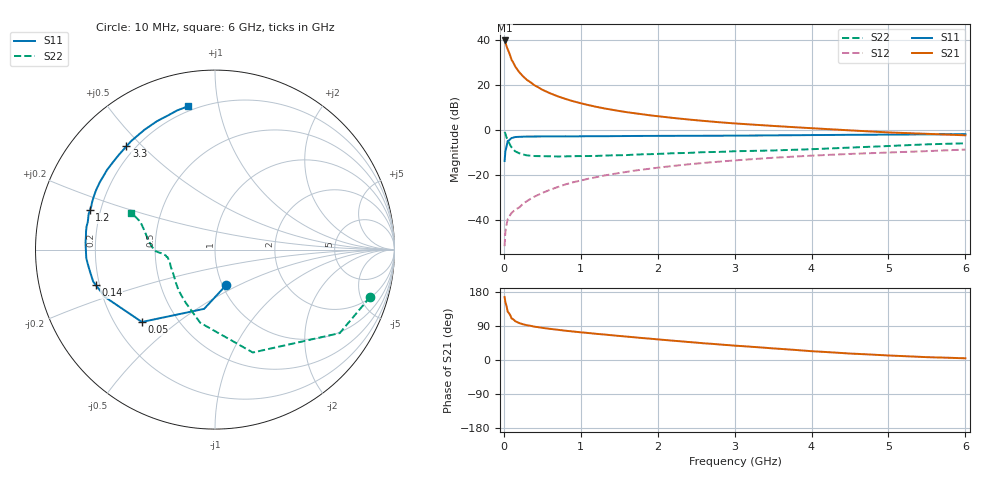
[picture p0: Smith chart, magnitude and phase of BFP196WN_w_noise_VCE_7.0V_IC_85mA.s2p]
! Infineon Technologies  Discrete & RF Semiconductors
! BFP196WN
! VCE =  7.0 V,  IC =  85 mA
! Common Emitter S-Parameters:  Jan 2017
# GHz  S  MA  R  50
!  f  S11  S21  S12  S22
! GHz  MAG  ANG  MAG  ANG  MAG  ANG  MAG  ANG
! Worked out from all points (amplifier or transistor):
!   77 points, 10 MHz to 6 GHz, reference 50 ohm
!   highest |S21| = 39.6 dB at 10 MHz (marker M1)
!   |S21| within 3 dB of that: start of sweep to 39.96 MHz
!   unconditionally stable (mu >= 1): 522.3 MHz to 2.572 GHz
!   at 130 MHz: K = 0.64, MSG = 32.6 dB, |S12| = -35.8 dB
!   at 2.2 GHz: K = 1.01, MAG = 9.9 dB, |S12| = -15.9 dB
!   at 6 GHz: K = 0.91, MSG = 3.2 dB, |S12| = -8.6 dB
!   lowest NFmin = 1.64 dB at 450 MHz
!   S11 on the Smith chart (normalised r, x): 10 MHz: 1.05, -0.43; 50 MHz: 0.31, -0.38; 140 MHz: 0.18, -0.14; 1.2 GHz: 0.16, +0.15; 3.3 GHz: 0.17, +0.45; 6 GHz: 0.17, +0.82
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0.01  0.2065 -72.0  95.94 166.2  0.0027 75.7  0.9037 -17.0
0.02  0.3356 -100.4  86.36 152.8  0.0056 67.7  0.8362 -33.8
0.05  0.5734 -135.3  61.11 127.5  0.0106 53.3  0.6109 -69.8
0.1  0.6671 -156.6  35.99 110.0  0.0146 51.1  0.4158 -101.4
0.14  0.6935 -163.6  27.25 104.3  0.0168 53.2  0.3494 -115.1
0.15  0.7017 -165.3  25.13 102.2  0.0174 53.6  0.3367 -119.3
0.2  0.7078 -170.4  19.09 97.5  0.0194 59.0  0.3062 -131.1
0.25  0.7139 -173.8  15.4 94.2  0.0236 61.1  0.2881 -138.6
0.3  0.7187 -176.3  12.89 91.8  0.0268 64.0  0.2755 -144.9
0.4  0.7197 179.8  9.745 87.8  0.0338 67.1  0.2662 -152.4
0.5  0.7225 176.8  7.803 84.8  0.0405 69.1  0.2645 -157.7
0.7  0.7254 172.1  5.583 79.8  0.0548 71.0  0.2607 -164.2
0.9  0.7252 167.9  4.343 75.2  0.07 71.2  0.2645 -167.4
1.1  0.7314 164.3  3.565 71.2  0.084 70.5  0.2664 -170.3
1.2  0.7309 162.5  3.272 69.1  0.0906 70.0  0.2678 -171.1
1.6  0.7374 156.1  2.484 61.7  0.1191 68.0  0.2798 -173.7
2.1  0.7437 148.2  1.938 52.7  0.1538 64.3  0.3018 -176.3
3.1  0.754 133.4  1.367 36.6  0.219 56.0  0.3425 179.5
3.3  0.7581 130.6  1.299 33.7  0.2313 54.3  0.348 178.2
4.1  0.7761 119.2  1.075 22.1  0.2763 47.3  0.3831 170.0
5.1  0.7939 108.5  0.873 11.1  0.3229 39.6  0.4513 159.1
6  0.8126 100.6  0.765 4.5  0.3701 33.5  0.5097 156.7
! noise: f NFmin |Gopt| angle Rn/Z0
0.45  1.64  0.59  -175  0.05
0.9  1.77  0.6  -168  0.07
1.9  2.75  0.7  -146  0.22
2.4  3.53  0.72  -138  0.37
